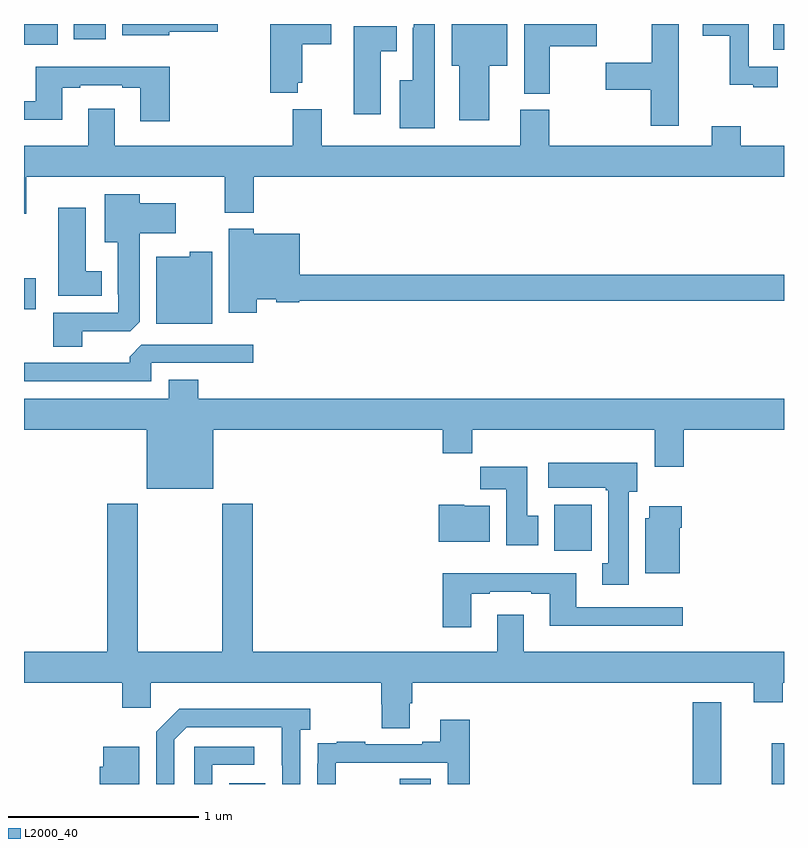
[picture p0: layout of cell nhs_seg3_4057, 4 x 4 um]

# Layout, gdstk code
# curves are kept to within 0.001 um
import gdstk
lib = gdstk.Library(unit=1e-6, precision=1e-09)
def R(c, l, rs):  # rectangles x0, y0, x1, y1
    for r in rs: c.add(gdstk.rectangle(r[:2], r[2:], *l))
def P(c, l, *ps):  # polygons
    for p in ps: c.add(gdstk.Polygon(p, *l))
L2000_40 = (2000, 40)

nhs_seg3_4057 = lib.new_cell('nhs_seg3_4057')
R(nhs_seg3_4057, L2000_40, [(326.081,684.4,326.269,684.403), (326.978,684.4,327.142,684.428), (328.52,684.4,328.669,684.829), (328.936,684.4,329,684.614), (327.791,685.628,327.988,685.87), (325,686.9,325.063,687.063), (328.943,688.265,329,688.4), (325,688.292,325.177,688.4), (325.262,688.32,325.429,688.4)])
P(nhs_seg3_4057, L2000_40, [(328.447,688.4),(328.303,688.4),(328.303,688.196),(328.062,688.196),(328.062,688.054),(328.298,688.054),(328.298,687.864),(328.447,687.864)],
  [(327.448,688.181),(327.544,688.181),(327.544,688.4),(327.251,688.4),(327.251,688.181),(327.29,688.181),(327.29,687.894),(327.448,687.894)],
  [(327.766,688.283),(328.014,688.283),(328.014,688.4),(327.632,688.4),(327.632,688.033),(327.766,688.033)],
  [(325.764,688.358),(326.021,688.358),(326.021,688.4),(325.517,688.4),(325.517,688.34),(325.764,688.34)],
  [(327.163,688.4),(327.051,688.4),(327.051,688.379),(327.047,688.379),(327.047,688.105),(326.978,688.105),(326.978,687.851),(327.163,687.851)],
  [(328.966,688.176),(328.815,688.176),(328.815,688.4),(328.572,688.4),(328.572,688.339),(328.714,688.339),(328.714,688.079),(328.838,688.079),(328.838,688.068),(328.966,688.068)],
  [(326.442,688.091),(326.464,688.091),(326.464,688.294),(326.617,688.294),(326.617,688.4),(326.297,688.4),(326.297,688.037),(326.442,688.037)],
  [(326.878,688.256),(326.962,688.256),(326.962,688.387),(326.735,688.387),(326.735,687.924),(326.878,687.924)],
  [(325.766,688.174),(325.061,688.174),(325.061,687.993),(325,687.993),(325,687.896),(325.201,687.896),(325.201,688.065),(325.297,688.065),(325.297,688.077),(325.517,688.077),(325.517,688.065),(325.613,688.065),(325.613,687.888),(325.766,687.888)],
  [(325.012,687.596),(326.057,687.596),(326.057,687.407),(326.21,687.407),(326.21,687.596),(329,687.596),(329,687.76),(328.772,687.76),(328.772,687.862),(328.619,687.862),(328.619,687.76),(327.764,687.76),(327.764,687.948),(327.611,687.948),(327.611,687.76),(326.566,687.76),(326.566,687.952),(326.414,687.952),(326.414,687.76),(325.477,687.76),(325.477,687.955),(325.337,687.955),(325.337,687.76),(325,687.76),(325,687.402),(325.012,687.402)],
  [(325.306,686.784),(325.56,686.784),(325.609,686.833),(325.609,687.299),(325.798,687.299),(325.798,687.457),(325.609,687.457),(325.609,687.505),(325.424,687.505),(325.424,687.251),(325.493,687.251),(325.493,686.977),(325.497,686.977),(325.497,686.88),(325.154,686.88),(325.154,686.701),(325.306,686.701)],
  [(325.408,687.1),(325.324,687.1),(325.324,687.433),(325.181,687.433),(325.181,686.969),(325.408,686.969)],
  [(326.225,686.951),(326.328,686.951),(326.328,686.936),(326.448,686.936),(326.448,686.944),(329,686.944),(329,687.08),(326.452,687.08),(326.452,687.295),(326.208,687.295),(326.208,687.322),(326.078,687.322),(326.078,686.88),(326.225,686.88)],
  [(325.99,687.202),(325.872,687.202),(325.872,687.175),(325.697,687.175),(325.697,686.822),(325.99,686.822)],
  [(325.671,686.616),(326.206,686.616),(326.206,686.712),(325.617,686.712),(325.556,686.65),(325.556,686.616),(325,686.616),(325,686.52),(325.671,686.52)],
  [(325.763,686.527),(325.763,686.428),(325,686.428),(325,686.264),(325.646,686.264),(325.646,685.955),(325.996,685.955),(325.996,686.264),(327.203,686.264),(327.203,686.14),(327.359,686.14),(327.359,686.264),(328.319,686.264),(328.319,686.07),(328.472,686.07),(328.472,686.264),(329,686.264),(329,686.428),(325.916,686.428),(325.916,686.527)],
  [(328.183,685.938),(328.228,685.938),(328.228,686.092),(327.759,686.092),(327.759,685.958),(328.063,685.958),(328.063,685.945),(328.076,685.945),(328.076,685.562),(328.043,685.562),(328.043,685.449),(328.183,685.449)],
  [(327.706,685.812),(327.649,685.812),(327.649,686.071),(327.4,686.071),(327.4,685.952),(327.539,685.952),(327.539,685.656),(327.706,685.656)],
  [(327.031,684.826),(327.044,684.826),(327.044,684.932),(328.841,684.932),(328.841,684.83),(328.994,684.83),(328.994,684.932),(329,684.932),(329,685.096),(327.631,685.096),(327.631,685.291),(327.491,685.291),(327.491,685.096),(326.204,685.096),(326.204,685.876),(326.044,685.876),(326.044,685.096),(325.599,685.096),(325.599,685.876),(325.439,685.876),(325.439,685.096),(325,685.096),(325,684.932),(325.517,684.932),(325.517,684.801),(325.668,684.801),(325.668,684.932),(326.879,684.932),(326.879,684.819),(326.884,684.819),(326.884,684.694),(327.031,684.694)],
  [(327.451,685.864),(327.318,685.864),(327.318,685.87),(327.182,685.87),(327.182,685.676),(327.451,685.676)],
  [(328.45,685.748),(328.463,685.748),(328.463,685.861),(328.292,685.861),(328.292,685.8),(328.271,685.8),(328.271,685.508),(328.45,685.508)],
  [(327.355,685.401),(327.451,685.401),(327.451,685.413),(327.671,685.413),(327.671,685.401),(327.767,685.401),(327.767,685.232),(328.468,685.232),(328.468,685.329),(327.907,685.329),(327.907,685.51),(327.203,685.51),(327.203,685.224),(327.355,685.224)],
  [(325.791,684.633),(325.857,684.699),(326.357,684.699),(326.358,684.4),(326.454,684.4),(326.454,684.686),(326.506,684.686),(326.506,684.796),(325.816,684.796),(325.695,684.675),(325.695,684.4),(325.791,684.4)],
  [(326.64,684.513),(327.231,684.513),(327.231,684.4),(327.347,684.4),(327.347,684.739),(327.191,684.739),(327.191,684.622),(327.095,684.622),(327.095,684.609),(326.795,684.609),(326.795,684.622),(326.647,684.622),(326.647,684.615),(326.545,684.615),(326.545,684.506),(326.544,684.506),(326.544,684.4),(326.64,684.4)],
  [(325.992,684.501),(326.212,684.501),(326.212,684.597),(325.896,684.597),(325.896,684.4),(325.992,684.4)],
  [(325.606,684.595),(325.418,684.595),(325.418,684.491),(325.399,684.491),(325.399,684.4),(325.606,684.4)])

lib.write_gds('nhs_seg3_4057.gds')
